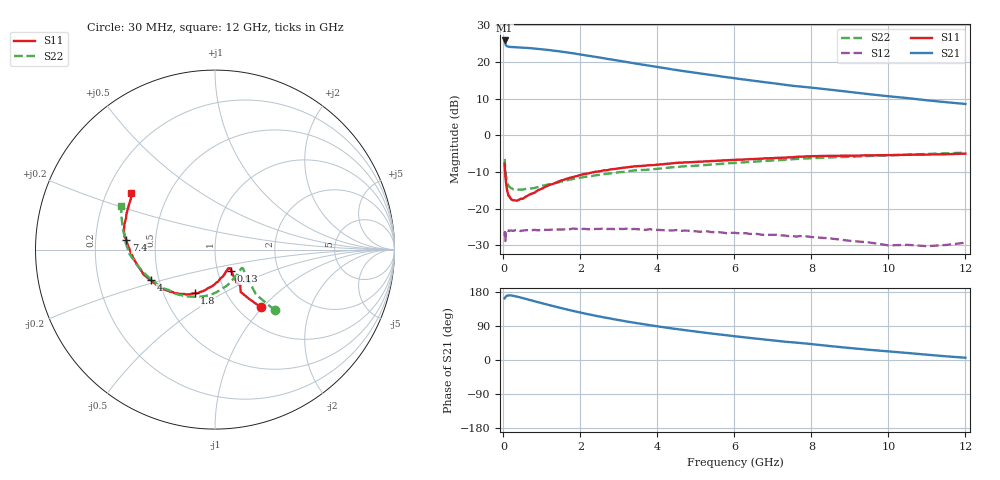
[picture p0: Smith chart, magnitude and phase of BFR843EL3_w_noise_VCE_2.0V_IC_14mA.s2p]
! Infineon Technologies  Discrete & RF Semiconductors
! BFR843EL3
! VCE =  2.0 V,  IC =  14 mA
! Common Emitter S-Parameters:  Aug 2013
# GHz  S  MA  R  50
!  f  S11  S21  S12  S22
! GHz  MAG  ANG  MAG  ANG  MAG  ANG  MAG  ANG
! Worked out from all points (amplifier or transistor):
!   103 points, 30 MHz to 12 GHz, reference 50 ohm
!   highest |S21| = 25.9 dB at 30 MHz (marker M1)
!   |S21| within 3 dB of that: start of sweep to 1.467 GHz
!   unconditionally stable (mu >= 1): 248.2 MHz to 252.9 MHz; 446.8 MHz to 455.1 MHz; 4.841 GHz to end of sweep
!   at 400 MHz: K = 0.99, MSG = 24.9 dB, |S12| = -25.8 dB
!   at 3.7 GHz: K = 0.92, MSG = 22.5 dB, |S12| = -25.8 dB
!   at 12 GHz: K = 2.57, MAG = 12.0 dB, |S12| = -29.3 dB
!   lowest NFmin = 0.97 dB at 450 MHz
!   S11 on the Smith chart (normalised r, x): 30 MHz: 1.26, -0.98; 130 MHz: 1.16, -0.29; 1.8 GHz: 0.72, -0.38; 4 GHz: 0.45, -0.18; 7.4 GHz: 0.34, +0.05; 12 GHz: 0.30, +0.28
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0.03  0.41 -51.5  19.71 162.5  0.0425 30.0  0.476 -45.4
0.04  0.3341 -55.3  18.44 164.0  0.0477 22.6  0.3938 -46.6
0.06  0.2445 -54.7  17.14 167.0  0.0442 22.5  0.3013 -45.7
0.09  0.1845 -55.1  16.53 169.4  0.0495 11.0  0.2379 -41.8
0.13  0.1502 -53.6  16.23 170.4  0.0502 9.1  0.2065 -37.1
0.25  0.1293 -53.5  16 169.5  0.0494 3.6  0.1833 -34.0
0.6  0.147 -68.7  15.61 160.7  0.0507 2.2  0.1855 -47.0
1.2  0.2099 -96.8  14.54 144.6  0.0512 0.8  0.2151 -74.5
1.5  0.2414 -106.3  13.88 137.0  0.0516 0.9  0.2334 -86.0
1.8  0.2683 -114.9  13.18 129.8  0.0533 1.1  0.2523 -95.8
2.1  0.2962 -122.2  12.44 122.9  0.0528 0.7  0.2698 -104.8
2.6  0.3318 -133.2  11.28 112.7  0.0533 -1.2  0.2937 -116.8
3  0.3538 -140.3  10.4 105.3  0.0529 -2.1  0.3127 -124.7
3.5  0.3795 -148.3  9.426 96.7  0.052 -3.0  0.3321 -133.6
4  0.3964 -154.6  8.567 88.8  0.0511 -4.2  0.3484 -140.5
4.1  0.4006 -155.7  8.406 87.4  0.0508 -3.6  0.3531 -141.6
5.1  0.4356 -167.2  6.994 73.7  0.0481 -5.4  0.3878 -154.0
6.1  0.4644 -176.2  5.914 61.7  0.046 -6.2  0.4238 -163.6
7.4  0.4981 173.7  4.822 47.5  0.042 -5.9  0.4676 -174.9
8.5  0.5242 164.2  4.185 36.6  0.039 -4.9  0.4997 175.5
10.5  0.5409 152.3  3.218 18.5  0.0319 11.4  0.5438 162.6
12  0.5618 146.1  2.676 6.0  0.0341 30.6  0.5789 154.9
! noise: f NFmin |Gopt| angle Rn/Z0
0.45  0.97  0.06  98  0.12
0.9  0.97  0.06  104  0.12
1.5  0.99  0.07  109  0.1
1.9  1  0.08  114  0.11
2.4  1.01  0.09  119  0.11
3.5  1.04  0.11  132  0.11
5.5  1.08  0.18  159  0.09
8  1.14  0.29  187  0.07
10  1.17  0.42  215  0.06
